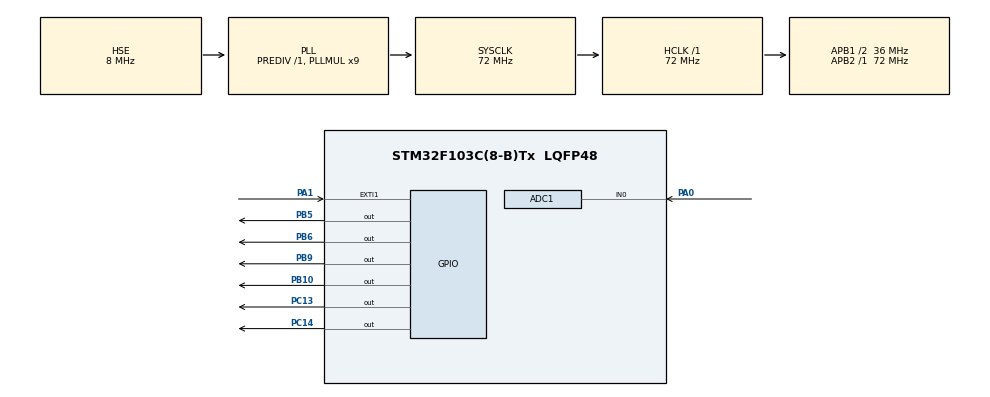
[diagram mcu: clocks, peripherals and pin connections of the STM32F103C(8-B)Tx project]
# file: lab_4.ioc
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ADC1.Channel-0\#ChannelRegularConversion=ADC_CHANNEL_0
ADC1.NbrOfConversionFlag=1
ADC1.Rank-0\#ChannelRegularConversion=1
ADC1.SamplingTime-0\#ChannelRegularConversion=ADC_SAMPLETIME_1CYCLE_5
ADC1.master=1
Mcu.Family=STM32F1
Mcu.Name=STM32F103C(8-B)Tx
Mcu.Package=LQFP48
NVIC.ADC1_2_IRQn=true\:0\:0\:false\:false\:true\:true\:true\:true
NVIC.EXTI1_IRQn=true\:0\:0\:false\:true\:true\:1\:true\:true\:true
NVIC.PriorityGroup=NVIC_PRIORITYGROUP_4
PA0-WKUP.Signal=ADCx_IN0
PA1.GPIO_ModeDefaultEXTI=GPIO_MODE_IT_FALLING
PA1.Signal=GPXTI1
PA13.Mode=Serial_Wire
PA13.Signal=SYS_JTMS-SWDIO
PA14.Mode=Serial_Wire
PA14.Signal=SYS_JTCK-SWCLK
PB10.Signal=GPIO_Output
PB5.Signal=GPIO_Output
PB6.Signal=GPIO_Output
PB9.Signal=GPIO_Output
PC13-TAMPER-RTC.Signal=GPIO_Output
PC14-OSC32_IN.Signal=GPIO_Output
PD0-OSC_IN.Mode=HSE-External-Oscillator
PD0-OSC_IN.Signal=RCC_OSC_IN
PD1-OSC_OUT.Mode=HSE-External-Oscillator
PD1-OSC_OUT.Signal=RCC_OSC_OUT
ProjectManager.HeapSize=0x200
ProjectManager.StackSize=0x400
ProjectManager.TargetToolchain=STM32CubeIDE
RCC.ADCPresc=RCC_ADCPCLK2_DIV6
RCC.AHBFreq_Value=72000000
RCC.APB1CLKDivider=RCC_HCLK_DIV2
RCC.APB1Freq_Value=36000000
RCC.APB1TimFreq_Value=72000000
RCC.APB2Freq_Value=72000000
RCC.APB2TimFreq_Value=72000000
RCC.HCLKFreq_Value=72000000
RCC.PLLMUL=RCC_PLL_MUL9
RCC.PLLSourceVirtual=RCC_PLLSOURCE_HSE
RCC.SYSCLKFreq_VALUE=72000000
RCC.SYSCLKSource=RCC_SYSCLKSOURCE_PLLCLK
RCC.USBFreq_Value=72000000
SH.ADCx_IN0.0=ADC1_IN0,IN0
board=custom

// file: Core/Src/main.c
/* USER CODE BEGIN Header */
/**
  ******************************************************************************
  * @file           : main.c
  * @brief          : Main program body
  ******************************************************************************
  * @attention
  *
  * Copyright (c) 2024 STMicroelectronics.
  * All rights reserved.
  *
  * This software is licensed under terms that can be found in the LICENSE file
  * in the root directory of this software component.
  * If no LICENSE file comes with this software, it is provided AS-IS.
  *
  ******************************************************************************
  */
/* USER CODE END Header */
#include "main.h"

/* USER CODE BEGIN Includes */
#include "funcoes_SPI_display.h"
#include "stm32f1xx_it.h"
/* USER CODE END Includes */

/* USER CODE BEGIN PD */
#define DT_VARRE  5             // inc varredura a cada 5 ms (~200 Hz)
#define DIGITO_APAGADO 0x10     // kte valor p/ apagar um dígito no display
/* USER CODE END PD */

ADC_HandleTypeDef hadc1;

void SystemClock_Config(void);
static void MX_GPIO_Init(void);
static void MX_ADC1_Init(void);
static void MX_NVIC_Init(void);

/* USER CODE BEGIN 0 */
int8_t ValAdc[] = {0,0,0,0};           // vetor com vals BCD do conv ADC
int8_t vSla = 1;
/* USER CODE END 0 */

int main(void)
{

  /* USER CODE BEGIN 1 */
  uint16_t val7seg = 0x00FF,           // inicia 7-seg com 0xF (tudo apagado)
          decPoint = 0x7FFF,           // liga o ponto decimal da unidade
       serial_data = 0x01FF;           // dado a serializar (dig | val7seg)
  uint32_t tNow = 0,                   // tempo que representa agora
           tIN_varre = 0;              // registra tempo última varredura
  /* USER CODE END 1 */

  /* MCU Configuration--------------------------------------------------------*/

  /* Reset of all peripherals, Initializes the Flash interface and the Systick. */
  HAL_Init();

  /* Configure the system clock */
  SystemClock_Config();

  /* Initialize all configured peripherals */
  MX_GPIO_Init();
  MX_ADC1_Init();

  /* Initialize interrupts */
  MX_NVIC_Init();
  /* USER CODE BEGIN 2 */

  reset_pinos_emula_SPI ();            // começa SPI emulada com pinos = 'high'
  // definir os estados da FSM começando sttVarre varrendo milésimo (LSD)
  static enum {DIG_UNI, DIG_DECS, DIG_CENS, DIG_MILS} sttVARRE=DIG_MILS;

  /* USER CODE END 2 */

  /* Infinite loop */
  while (1)
  {

    /* USER CODE BEGIN 3 */

    tNow = HAL_GetTick();              // salva o tempo de agora

    // tarefa #1: se (get_stt_ADC=1) dispara uma conversão ADC
    if (get_stt_ADC() == 1) {
      // dispara por software uma conversão ADC
      HAL_ADC_Start_IT(&hadc1);        // dispara ADC p/ conversão por IRQ
    }

    // tarefa #2: enquanto tNow não contar novo delta_T p/ atualizar display
    if ((tNow - tIN_varre) > DT_VARRE) {
      continue;                        // próxima iteração
    }
    // se deu tempo de nova atualização no display
    tIN_varre = tNow;                  // salva tIN p/ prox tempo varredura
    switch (sttVARRE) {                // qual DIG vai varrer?
    case DIG_MILS:                     // se varre milésimo (LSD)
      sttVARRE = DIG_CENS;             // ajusta p/ prox digito
      serial_data = 0x0008;            // display #1 do painel 4x7-seg
      val7seg = conv_7_seg(ValAdc[0]); // dígito menos significativo
      break;
    case DIG_CENS:                     // varre o centésimo
      sttVARRE = DIG_DECS;             // ajusta p/ prox digito
      serial_data = 0x00004;           // display #2
      // se centésimo, décimo ou a unidade != 0, mostrar dígito
      if (ValAdc[1]>0 || ValAdc[2]>0 || ValAdc[3]>0) {
        val7seg = conv_7_seg(ValAdc[1]);// valor do centésimo
      } else {                         // senão, apagar o dígito
        val7seg = conv_7_seg(DIGITO_APAGADO);
      }
      break;
    case DIG_DECS:                     // varre o décimo
      sttVARRE = DIG_UNI;              // ajusta p/ prox digito
      serial_data = 0x0002;            // display #3
      // se o décimo ou a unidade são diferentes de zero
      if (ValAdc[2]>0 || ValAdc[3]>0) {
        val7seg = conv_7_seg(ValAdc[2]); // mostrar décimo
      } else {                         // senão apagar dígito
        val7seg = conv_7_seg(DIGITO_APAGADO);
      }
      break;
    case DIG_UNI:                      // varre MSD - unidade
      sttVARRE = DIG_MILS;             // ajusta p/ prox digito
      serial_data = 0x0001;            // display #4
      if (ValAdc[3] > 0) {             // se unidade > 0
        val7seg = conv_7_seg(ValAdc[3]); // ligar o display unidade
        val7seg &= decPoint;           // liga o ponto decimal
      } else {                         // se unidade =0, dig apagado
        val7seg = conv_7_seg(DIGITO_APAGADO);
      }
      break;
    }  // fim case
    serial_data |= val7seg;            // OR com val7seg = dado a serializar
    serializar(serial_data);           // serializa dado p/74HC595 (shift reg)
  }    // -- fim do loop infinito
  /* USER CODE END 3 */
}

void SystemClock_Config(void)
{
  RCC_OscInitTypeDef RCC_OscInitStruct = {0};
  RCC_ClkInitTypeDef RCC_ClkInitStruct = {0};
  RCC_PeriphCLKInitTypeDef PeriphClkInit = {0};

  /** Initializes the RCC Oscillators according to the specified parameters
  * in the RCC_OscInitTypeDef structure.
  */
  RCC_OscInitStruct.OscillatorType = RCC_OSCILLATORTYPE_HSE;
  RCC_OscInitStruct.HSEState = RCC_HSE_ON;
  RCC_OscInitStruct.HSEPredivValue = RCC_HSE_PREDIV_DIV1;
  RCC_OscInitStruct.HSIState = RCC_HSI_ON;
  RCC_OscInitStruct.PLL.PLLState = RCC_PLL_ON;
  RCC_OscInitStruct.PLL.PLLSource = RCC_PLLSOURCE_HSE;
  RCC_OscInitStruct.PLL.PLLMUL = RCC_PLL_MUL9;
  if (HAL_RCC_OscConfig(&RCC_OscInitStruct) != HAL_OK)
  {
    Error_Handler();
  }

  /** Initializes the CPU, AHB and APB buses clocks
  */
  RCC_ClkInitStruct.ClockType = RCC_CLOCKTYPE_HCLK|RCC_CLOCKTYPE_SYSCLK
                              |RCC_CLOCKTYPE_PCLK1|RCC_CLOCKTYPE_PCLK2;
  RCC_ClkInitStruct.SYSCLKSource = RCC_SYSCLKSOURCE_PLLCLK;
  RCC_ClkInitStruct.AHBCLKDivider = RCC_SYSCLK_DIV1;
  RCC_ClkInitStruct.APB1CLKDivider = RCC_HCLK_DIV2;
  RCC_ClkInitStruct.APB2CLKDivider = RCC_HCLK_DIV1;

  if (HAL_RCC_ClockConfig(&RCC_ClkInitStruct, FLASH_LATENCY_2) != HAL_OK)
  {
    Error_Handler();
  }
  PeriphClkInit.PeriphClockSelection = RCC_PERIPHCLK_ADC;
  PeriphClkInit.AdcClockSelection = RCC_ADCPCLK2_DIV6;
  if (HAL_RCCEx_PeriphCLKConfig(&PeriphClkInit) != HAL_OK)
  {
    Error_Handler();
  }
}

/**
  * @brief NVIC Configuration.
  * @retval None
  */
static void MX_NVIC_Init(void)
{
  /* EXTI1_IRQn interrupt configuration */
  HAL_NVIC_SetPriority(EXTI1_IRQn, 0, 0);
  HAL_NVIC_EnableIRQ(EXTI1_IRQn);
}

static void MX_ADC1_Init(void)
{

  ADC_ChannelConfTypeDef sConfig = {0};

  /** Common config
  */
  hadc1.Instance = ADC1;
  hadc1.Init.ScanConvMode = ADC_SCAN_DISABLE;
  hadc1.Init.ContinuousConvMode = DISABLE;
  hadc1.Init.DiscontinuousConvMode = DISABLE;
  hadc1.Init.ExternalTrigConv = ADC_SOFTWARE_START;
  hadc1.Init.DataAlign = ADC_DATAALIGN_RIGHT;
  hadc1.Init.NbrOfConversion = 1;
  if (HAL_ADC_Init(&hadc1) != HAL_OK)
  {
    Error_Handler();
  }

  /** Configure Regular Channel
  */
  sConfig.Channel = ADC_CHANNEL_0;
  sConfig.Rank = ADC_REGULAR_RANK_1;
  sConfig.SamplingTime = ADC_SAMPLETIME_1CYCLE_5;
  if (HAL_ADC_ConfigChannel(&hadc1, &sConfig) != HAL_OK)
  {
    Error_Handler();
  }

}

static void MX_GPIO_Init(void)
{
  GPIO_InitTypeDef GPIO_InitStruct = {0};

  /* GPIO Ports Clock Enable */
  __HAL_RCC_GPIOC_CLK_ENABLE();
  __HAL_RCC_GPIOD_CLK_ENABLE();
  __HAL_RCC_GPIOA_CLK_ENABLE();
  __HAL_RCC_GPIOB_CLK_ENABLE();

  /*Configure GPIO pin Output Level */
  HAL_GPIO_WritePin(GPIOC, GPIO_PIN_13|GPIO_PIN_14, GPIO_PIN_RESET);

  /*Configure GPIO pin Output Level */
  HAL_GPIO_WritePin(GPIOB, GPIO_PIN_10|GPIO_PIN_5|GPIO_PIN_6|GPIO_PIN_9, GPIO_PIN_RESET);

  /*Configure GPIO pins : PC13 PC14 */
  GPIO_InitStruct.Pin = GPIO_PIN_13|GPIO_PIN_14;
  GPIO_InitStruct.Mode = GPIO_MODE_OUTPUT_PP;
  GPIO_InitStruct.Pull = GPIO_NOPULL;
  GPIO_InitStruct.Speed = GPIO_SPEED_FREQ_LOW;
  HAL_GPIO_Init(GPIOC, &GPIO_InitStruct);

  /*Configure GPIO pin : PA1 */
  GPIO_InitStruct.Pin = GPIO_PIN_1;
  GPIO_InitStruct.Mode = GPIO_MODE_IT_FALLING;
  GPIO_InitStruct.Pull = GPIO_NOPULL;
  HAL_GPIO_Init(GPIOA, &GPIO_InitStruct);

  /*Configure GPIO pins : PB10 PB5 PB6 PB9 */
  GPIO_InitStruct.Pin = GPIO_PIN_10|GPIO_PIN_5|GPIO_PIN_6|GPIO_PIN_9;
  GPIO_InitStruct.Mode = GPIO_MODE_OUTPUT_PP;
  GPIO_InitStruct.Pull = GPIO_NOPULL;
  GPIO_InitStruct.Speed = GPIO_SPEED_FREQ_LOW;
  HAL_GPIO_Init(GPIOB, &GPIO_InitStruct);

}

/* USER CODE BEGIN 4 */
// fn que atende ao callback da ISR do conversor ADC1
void HAL_ADC_ConvCpltCallback(ADC_HandleTypeDef* hadc)
{
  uint16_t val_adc = 0;                // define var para ler ADC
  if(hadc->Instance == ADC1) {         // se veio ADC1
    val_adc = HAL_ADC_GetValue(&hadc1);// capta valor adc
    // converter o valor lido em valores hexa p/ display
    int mVolt = val_adc*3300/4095;     // converte p/ INT 32 bits
    ValAdc[3] = mVolt/1000;            // MSD unidade (8 bits bcd)
    ValAdc[2] = (mVolt%1000)/100;      // décimo
    ValAdc[1] = (mVolt%100)/10;        // centésimo
    ValAdc[0] = mVolt%10;              // LSD milésimo
    if (mVolt > 2000) {
    	HAL_GPIO_WritePin(GPIOB, GPIO_PIN_5, GPIO_PIN_RESET);
    }
    else {
    	HAL_GPIO_WritePin(GPIOB, GPIO_PIN_5, GPIO_PIN_SET);
    }
  }
  set_stt_ADC(0);                      // muda get_stt_ADC p/ 0
}
/* USER CODE END 4 */

void Error_Handler(void)
{
  __disable_irq();
  while (1)
  {
  }
}
